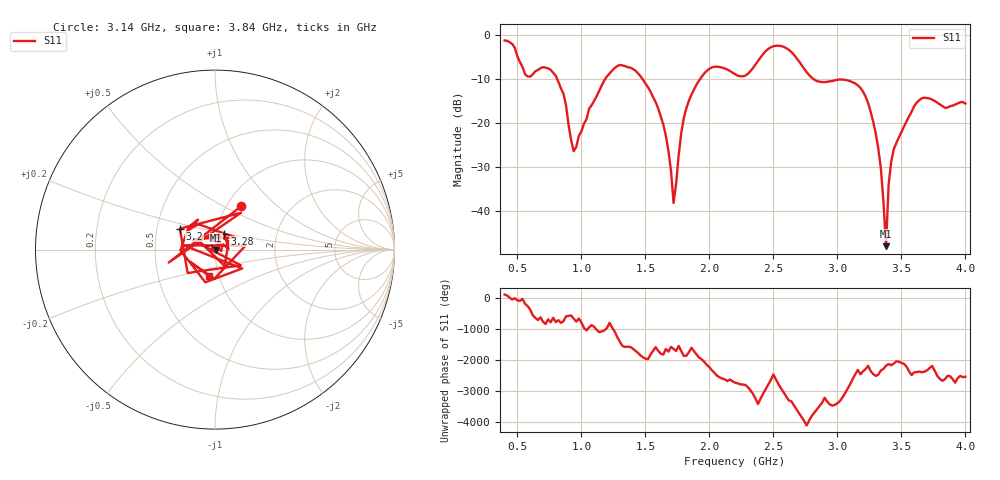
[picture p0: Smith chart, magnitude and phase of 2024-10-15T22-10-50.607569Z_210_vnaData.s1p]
! Created with skrf (http://scikit-rf.org).
# Hz S RI R 50.0
!freq ReS11 ImS11
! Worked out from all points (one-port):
!   181 points, 400 MHz to 4 GHz, reference 50 ohm
!   lowest |S11| = -48.1 dB at 3.38 GHz (marker M1), VSWR 1.01, Z = 50.4 - j0.172 ohm
!   |S11| at or under -10 dB: 811 MHz to 1.186 GHz (374.7 MHz wide, 37.5 % of centre); 1.477 GHz to 1.927 GHz (449.8 MHz wide, 26.4 % of centre); 2.814 GHz to end of sweep
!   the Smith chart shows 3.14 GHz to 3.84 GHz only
!   S11 on the Smith chart (normalised r, x): 3.14 GHz: 1.17, +0.61; 3.2 GHz: 0.66, +0.16; 3.28 GHz: 1.09, +0.20; 3.84 GHz: 0.89, -0.26
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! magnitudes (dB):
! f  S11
! 400 MHz  -1.2
! 560 MHz  -8.9
! 740 MHz  -7.6
! 860 MHz  -13.4
! 940 MHz  -26.4
! 1.3 GHz  -6.8
! 1.6 GHz  -16.7
! 1.68 GHz  -26.4
! 1.72 GHz  -38.2
! 1.76 GHz  -27.3
! 1.82 GHz  -16.6
! 1.94 GHz  -9.4
! 2.2 GHz  -8.9
! 2.5 GHz  -2.5
! 2.66 GHz  -4.4
! 2.84 GHz  -10.5
! 3.1 GHz  -10.5
! 3.14 GHz  -11.0
! 3.2 GHz  -12.8
! 3.28 GHz  -19.8
! 3.34 GHz  -30.4
! 3.38 GHz  -48.1
! 3.4 GHz  -34.1
! 3.42 GHz  -28.9
! 3.56 GHz  -18.5
! 3.66 GHz  -14.4
! 3.84 GHz  -16.5
! 4 GHz  -15.6
